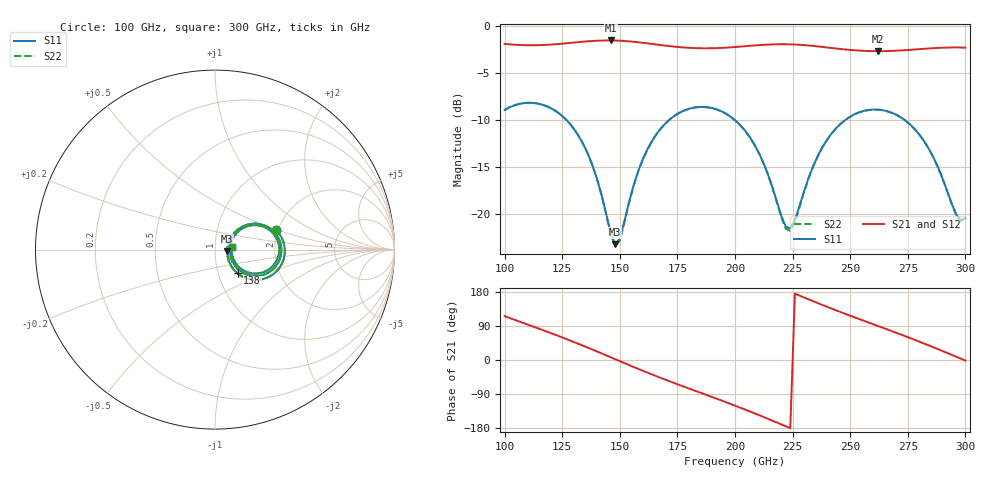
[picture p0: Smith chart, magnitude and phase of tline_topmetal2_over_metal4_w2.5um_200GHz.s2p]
#  GHZ S DB R 50
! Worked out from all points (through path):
!   101 points, 100 GHz to 300 GHz, reference 50 ohm
!   highest |S21| = -1.57 dB at 146 GHz (marker M1); lowest = -2.7 dB at 262 GHz (marker M2)
!   group delay of S21, straight-line fit = 6.64 ps
!   lowest |S11| = -23.2 dB at 148 GHz (marker M3), VSWR 1.15, Z = 57.4 - j1 ohm
!   |S11| at or under -10 dB: 126.7 GHz to 171.5 GHz (44.81 GHz wide, 30 % of centre); 199.8 GHz to 247.9 GHz (48.15 GHz wide, 21.5 % of centre); 273.5 GHz to end of sweep
!   |S22| runs from -23.4 to -8.2 dB; largest |S21 - S12| = 9.6e-14
!   S11 on the Smith chart (normalised r, x): 100 GHz: 1.94, +0.49; 138 GHz: 1.24, -0.34; 300 GHz: 1.21, +0.04
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100  -8.96 18.0  -1.94 115.8  -1.94 115.8  -8.96 17.8
118  -8.53 -15.2  -2.04 75.7  -2.04 75.7  -8.54 -15.5
126  -9.82 -29.7  -1.89 57.2  -1.89 57.2  -9.82 -30.0
134  -12.52 -42.4  -1.71 37.9  -1.71 37.9  -12.53 -42.9
138  -14.74 -46.3  -1.63 27.8  -1.63 27.8  -14.76 -46.9
146  -21.95 -27.5  -1.57 7.3  -1.57 7.3  -22.11 -28.4
148  -23.21 -7.2  -1.58 2.1  -1.58 2.1  -23.42 -7.7
150  -22.63 15.1  -1.60 -3.0  -1.60 -3.0  -22.82 15.4
160  -14.18 40.3  -1.82 -28.4  -1.82 -28.4  -14.21 40.5
168  -10.86 29.9  -2.07 -47.7  -2.07 -47.7  -10.88 29.9
184  -8.65 2.3  -2.40 -84.2  -2.40 -84.2  -8.65 2.2
200  -10.04 -25.2  -2.27 -120.4  -2.27 -120.4  -10.05 -25.6
212  -14.37 -39.9  -2.05 -149.4  -2.05 -149.4  -14.41 -40.6
222  -21.33 -12.6  -1.98 -174.7  -1.98 -174.7  -21.56 -13.2
226  -20.64 19.6  -2.01 175.1  -2.01 175.1  -20.85 20.1
234  -14.87 37.9  -2.16 154.9  -2.16 154.9  -14.93 38.4
248  -9.99 21.3  -2.53 121.5  -2.53 121.5  -10.01 21.5
262  -8.92 -2.0  -2.71 89.9  -2.71 89.9  -8.93 -2.0
268  -9.25 -12.1  -2.68 76.4  -2.68 76.4  -9.26 -12.1
282  -12.24 -32.7  -2.46 43.6  -2.46 43.6  -12.25 -32.9
296  -20.05 -16.9  -2.32 8.7  -2.32 8.7  -20.10 -17.2
300  -20.44 10.4  -2.34 -1.4  -2.34 -1.4  -20.50 10.3
